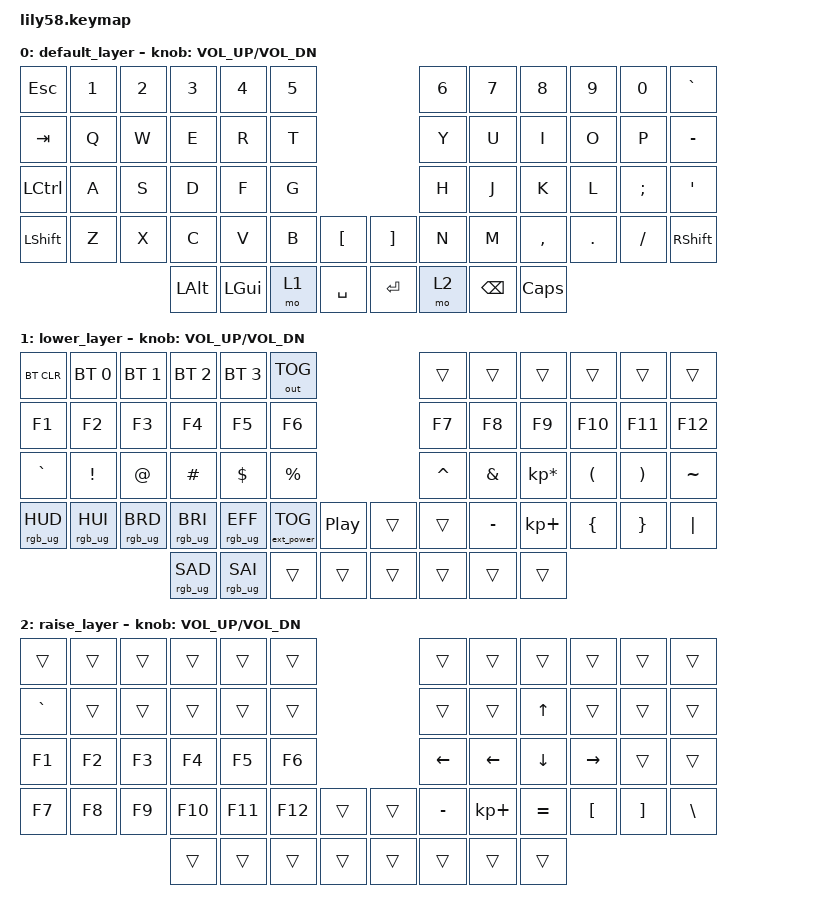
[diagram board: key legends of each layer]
/*
 * Copyright (c) 2020 The ZMK Contributors
 *
 * SPDX-License-Identifier: MIT
 */

#include <behaviors.dtsi>
#include <dt-bindings/zmk/keys.h>
#include <dt-bindings/zmk/bt.h>
#include <dt-bindings/zmk/ext_power.h>
#include <dt-bindings/zmk/rgb.h>
#include <dt-bindings/zmk/outputs.h>

// &left_encoder { resolution = <1>; };
// &right_encoder { resolution = <1>; };

/ {
	chosen {
        zmk,underglow = &led_strip;
    };

	keymap {
		compatible = "zmk,keymap";

		default_layer {
// ------------------------------------------------------------------------------------------------------------
// |  ESC  |  1  |  2  |  3   |  4     |  5   |                   |  6   |  7     |  8    |  9   |   0   |   `   |
// |  TAB  |  Q  |  W  |  E   |  R     |  T   |                   |  Y   |  U     |  I    |  O   |   P   |   -   |
// |  CTRL |  A  |  S  |  D   |  F     |  G   |                   |  H   |  J     |  K    |  L   |   ;   |   '   |
// | SHIFT |  Z  |  X  |  C   |  V     |  B   |   "["  |  |  "]"  |  N   |  M     |  ,    |  .   |   /   | SHIFT |
//                     | ALT  |  GUI   | LOWER  | SPACE |  | ENTER | BSPC |  RAISE | GUI   |
			bindings = <
&kp ESC   &kp N1 &kp N2 &kp N3   &kp N4   &kp N5                     	&kp N6 	&kp N7   &kp N8    &kp N9  &kp N0   &kp GRAVE
&kp TAB   &kp Q  &kp W  &kp E    &kp R    &kp T                      	&kp Y  	&kp U    &kp I     &kp O   &kp P    &kp MINUS
&kp LCTRL &kp A  &kp S  &kp D    &kp F    &kp G                      	&kp H  	&kp J    &kp K     &kp L   &kp SEMI &kp SQT
&kp LSHFT &kp Z  &kp X  &kp C    &kp V    &kp B  	&kp LBKT   &kp RBKT &kp N  	&kp M    &kp COMMA &kp DOT &kp FSLH &kp RSHFT
                        &kp LALT &kp LGUI &mo 1	    &kp SPACE  &kp RET	&mo 2 	&kp BSPC &kp CAPS
			>;

			sensor-bindings = <&inc_dec_kp C_VOL_UP C_VOL_DN>;
		};

		lower_layer {
// ------------------------------------------------------------------------------------------------------------
// | BTCLR | BT1 | BT2 |  BT3 |  BT4 |  TOG |                   |      |       |       |      |       |       |
// |  F1   |  F2 |  F3 |  F4  |  F5  |  F6  |                   |  F7  |  F8   |  F9   |  F10 |  F11  |  F12  |
// |   `   |  !  |  @  |  #   |  $   |  %   |                   |  ^   |  &    |  *    |  (   |   )   |   ~   |
// |       |     |     |      |      |      |        |  |       |      |  _    |  +    |  {   |   }   |  "|"  |
//                     |      |      |      |        |  |       |      |       |       |
			bindings = <
&bt BT_CLR       &bt BT_SEL 0     &bt BT_SEL 1     &bt BT_SEL 2     &bt BT_SEL 3       &out OUT_TOG                            &trans    &trans    &trans          &trans    &trans    &trans
&kp F1           &kp F2           &kp F3           &kp F4           &kp F5             &kp F6                                  &kp F7    &kp F8    &kp F9          &kp F10   &kp F11   &kp F12
&kp GRAVE        &kp EXCL         &kp AT           &kp HASH         &kp DOLLAR         &kp PRCNT                               &kp CARET &kp AMPS  &kp KP_MULTIPLY &kp LPAR  &kp RPAR  &kp TILDE
&rgb_ug RGB_HUD  &rgb_ug RGB_HUI  &rgb_ug RGB_BRD  &rgb_ug RGB_BRI  &rgb_ug RGB_EFF	   &ext_power EP_TOG 	&kp C_PP &trans    &trans    &kp MINUS &kp KP_PLUS     &kp LBRC  &kp RBRC  &kp PIPE
                                  &rgb_ug RGB_SAD  &rgb_ug RGB_SAI  &trans             &trans    			&trans   &trans    &trans    &trans
			>;

			sensor-bindings = <&inc_dec_kp C_VOL_UP C_VOL_DN>;
		};

		raise_layer {
// ------------------------------------------------------------------------------------------------------------
// |       |     |     |      |      |      |                   |      |       |       |      |       |       |
// |   `   |     |     |      |      |      |                   |      |       |   ^   |      |       |       |
// |   F1  |  F2 |  F3 |  F4  |  F5  |  F6  |                   |      |   <-  |   v   |  ->  |       |       |
// |   F7  |  F8 |  F9 |  F10 |  F11 |  F12 |        |  |       |  -   |   +   |   =   |  [   |   ]   |   \   |
//                     |      |      |      |        |  |       |      |       |       |
			bindings = <
&trans    &trans &trans &trans  &trans  &trans                       &trans      &trans    	  &trans    &trans    &trans    &trans
&kp GRAVE &trans &trans &trans  &trans  &trans                       &trans      &trans    	  &kp UP    &trans    &trans    &trans
&kp F1    &kp F2 &kp F3 &kp F4  &kp F5  &kp F6                       &kp LEFT  	 &kp LEFT  	  &kp DOWN  &kp RIGHT &trans    &trans
&kp F7    &kp F8 &kp F9 &kp F10 &kp F11 &kp F12   &trans   &trans    &kp MINUS   &kp KP_PLUS  &kp EQUAL &kp LBKT  &kp RBKT  &kp BSLH
                        &trans  &trans  &trans    &trans   &trans    &trans      &trans    	  &trans
			>;

			sensor-bindings = <&inc_dec_kp C_VOL_UP C_VOL_DN>;
		};
	};
};
